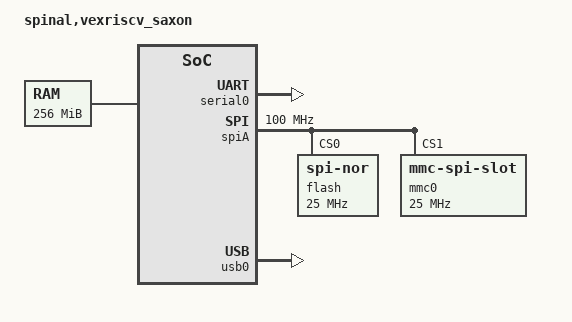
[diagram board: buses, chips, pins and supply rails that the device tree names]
/dts-v1/;

#include <config.h>

/ {
  #address-cells = <1>;
  #size-cells = <1>;
  compatible = "spinal,vexriscv";
  model = "spinal,vexriscv_saxon";

  aliases {
    serial0 = &serial0;
    spi0 = &spiA;
  };

  chosen {
    bootargs = "console=ttyS0,115200n8";
    stdout-path = "serial0:115200n8";
  };

  cpus {
    #address-cells = <1>;
    #size-cells = <0>;
    timebase-frequency = <100000000>;

    cpu0: cpu@0{
      device_type = "cpu";
      compatible = "riscv";
      riscv,isa = "rv32imafd";
      clock-frequency = <100000000>;
      mmu-type = "riscv,sv32";
      reg = <0>;
      status = "okay";
      intc0: interrupt-controller {
          #interrupt-cells = <1>;
          interrupt-controller;
          compatible = "riscv,cpu-intc";
      };
    };

    cpu1: cpu@1{
      device_type = "cpu";
      compatible = "riscv";
      riscv,isa = "rv32imafd";
      clock-frequency = <100000000>;
      mmu-type = "riscv,sv32";
      reg = <1>;
      status = "okay";
      intc1: interrupt-controller {
          #interrupt-cells = <1>;
          interrupt-controller;
          compatible = "riscv,cpu-intc";
      };
    };
  };

  memory {
    device_type = "memory";
    reg = <0x80000000 0x10000000>;
  };

  framebuffer0: framebuffer@8f000000 {
      compatible = "simple-framebuffer";
      reg = <0x8F000000 (1920 * 1080 * 2)>;
      width = <640>;
      height = <480>;
      stride = <(640 * 2)>;
      format = "r5g6b5";
  };


  periph@10000000 {
    compatible = "simple-bus";
    #address-cells = <0x1>;
    #size-cells = <0x1>;
    ranges = <0x0 0x10000000 0x01000000>;

    serial0: serial@10000 {
      device_type = "serial";
      compatible = "vexriscv,uart0";
      reg = <0x10000 0x10>;
      clock-frequency = <100000000>;
    };

    spiA: spi@20000 {
      compatible = "vexriscv,spi";
      #address-cells = <1>;
      #size-cells = <0>;
      reg = <0x20000 0x1000>;
      cmd_fifo_depth = <256>;
      rsp_fifo_depth = <256>;
      num-cs = <1>;
      clock-frequency = <100000000>;

      flash: flash@0 {
        #address-cells = <1>;
        #size-cells = <1>;
        compatible = "jedec,spi-nor";
        reg = <0>;
        spi-max-frequency = <25000000>;
      };

      mmc0: mmc@1 {
        compatible = "mmc-spi-slot";
        reg = <1>;
        spi-max-frequency = <25000000>;
      };
    };

    usb0: ohci@a0000 {
      compatible = "generic-ohci";
      reg = <0xa0000 0x1000>;
    };
  };
};


//sspi  0:0.0 32 9F
//mtd read uboot-env 0x80000000
//md.l 0x80000000 100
